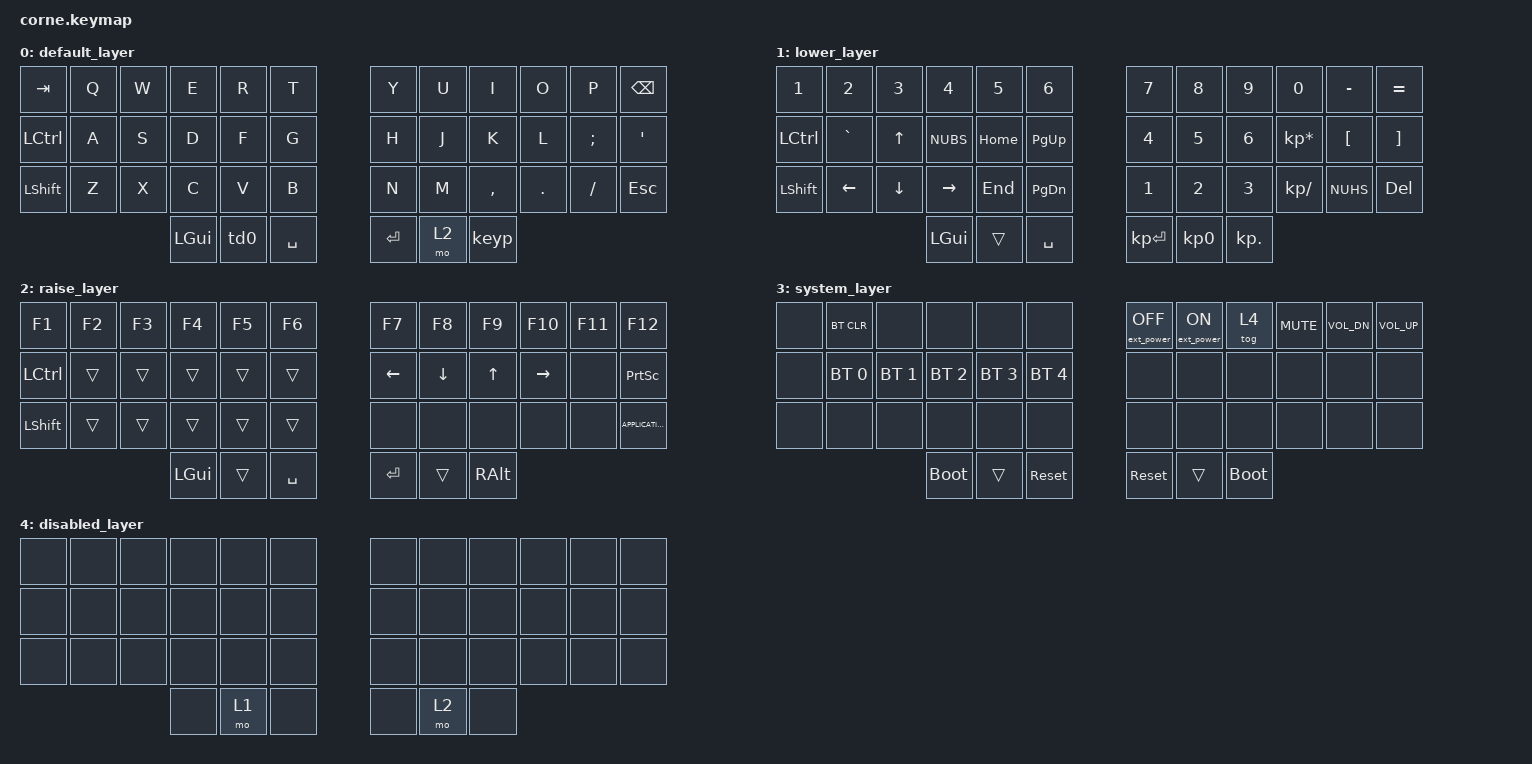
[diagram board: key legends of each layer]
/*
 * Copyright (c) 2020 The ZMK Contributors
 *
 * SPDX-License-Identifier: MIT
 */

#include <behaviors.dtsi>
#include <dt-bindings/zmk/keys.h>
#include <dt-bindings/zmk/bt.h>
#include <dt-bindings/zmk/ext_power.h>
#include <dt-bindings/zmk/outputs.h>


/ {
        behaviors {
            td0: tap_dance_0 {
                compatible = "zmk,behavior-tap-dance";
                #binding-cells = <0>;
                tapping-term-ms = <200>;
                bindings = <&mo 1>, <&to 1>;
            };

            // this is a hack to allow us to use win+alt as launcher for keypirinha_launcher
            // This assume keypirihna is bound to Win+Del
            keyp: keyperinha_launcher {
              compatible = "zmk,behavior-mod-morph";
              #binding-cells = <0>;
              bindings = <&kp LALT>, <&kp F11>;
              mods = <(MOD_LGUI|MOD_RGUI)>;
              keep-mods = <(MOD_LGUI)>;
          };
        };

        conditional_layers {
          compatible = "zmk,conditional-layers";

          tri_layer {
            if-layers = <1 2>;
            then-layer = <3>;
          };
        };

        keymap {
                compatible = "zmk,keymap";

                default_layer {
// -----------------------------------------------------------------------------------------
// |  TAB |  Q  |  W  |  E  |  R  |  T  |   |  Y  |  U   |  I  |  O  |  P  | BKSP |
// | CTRL |  A  |  S  |  D  |  F  |  G  |   |  H  |  J   |  K  |  L  |  ;  |  '   |
// | SHFT |  Z  |  X  |  C  |  V  |  B  |   |  N  |  M   |  ,  |  .  |  /  | ESC  |
//                    | GUI | LWR | SPC |   | ENT | RSE  | ALT |
                        bindings = <
   &kp TAB   &kp Q &kp W &kp E &kp R &kp T   &kp Y &kp U  &kp I     &kp O   &kp P    &kp BSPC
   &kp LCTRL &kp A &kp S &kp D &kp F &kp G   &kp H &kp J  &kp K     &kp L   &kp SEMI &kp SQT
   &kp LSHFT &kp Z &kp X &kp C &kp V &kp B   &kp N &kp M  &kp COMMA &kp DOT &kp FSLH &kp ESC
                  &kp LGUI &td0 &kp SPACE   &kp RET &mo 2 &keyp
                        >;
                };
                lower_layer {
// -----------------------------------------------------------------------------------------
// |   1  |  2  |  3  |  4  |  5  |  6  |   |  7  |  8  |  9  |  0  |  -  |  +   |
// | CTRL | `¬¦ |  UP | | \ |HOME |PGUP |   |  4  |  5  |  6  |  *  | [{  |  }]  |
// | SHFT |LEFT |DOWN |RIGHT|END  |PGDN |   |  1  |  2  |  3  |  /  | ~#  | DEL  |
//                    | GUI |     | SPC |   | ENT |  0  |  .  |
                        bindings = <
   &kp N1     &kp N2    &kp N3   &kp N4    &kp N5   &kp N6         &kp N7   &kp N8   &kp N9  &kp N0          &kp MINUS   &kp EQUAL
   &kp LCTRL  &kp GRAVE &kp UP   &kp NUBS  &kp HOME &kp PG_UP      &kp N4   &kp N5   &kp N6  &kp KP_MULTIPLY &kp LBKT    &kp RBKT
   &kp LSHFT  &kp LEFT  &kp DOWN &kp RIGHT &kp END  &kp PG_DN      &kp N1   &kp N2   &kp N3  &kp KP_DIVIDE   &kp NUHS    &kp DEL
                                 &kp LGUI  &trans   &kp SPACE      &kp KP_ENTER  &kp KP_N0   &kp KP_DOT
                        >;
                };


                raise_layer {
// -----------------------------------------------------------------------------------------
// |   F1 |  F2 |  F3 |  F4 |  F5 |  F6 |   |  F7 |  F8 |  F9 | F10 | F11 | F12  |
// | CTRL |     |     |     |     |     |   | LEFT| DOWN|  UP |RIGHT|     | Print screen |
// | SHFT |     |     |     |     |     |   |     |     |     |     |     | Context menu |
//                    |     |     |     |   |     |     |     |
                        bindings = <
   &kp F1   &kp F2   &kp F3   &kp F4   &kp F5   &kp F6     &kp F7   &kp F8   &kp F9   &kp F10    &kp F11  &kp F12
   &kp LCTRL &trans   &trans &trans   &trans   &trans      &kp LEFT &kp DOWN &kp UP   &kp RIGHT  &none    &kp PRINTSCREEN
   &kp LSHFT &trans   &trans &trans   &trans   &trans      &none    &none    &none    &none      &none    &kp K_APPLICATION
                    	     &kp LGUI &trans   &kp SPACE   &kp RET &trans    &kp RALT
                        >;
                };
                system_layer {
// -----------------------------------------------------------------------------------------
// |      |BTCLR|     |     |     |     |   | PWR | L 4 |     |VOLDN|VOLUP| MUTE |
// |      | BT1 | BT2 | BT3 | BT4 | BT5 |   |     |     |     |     |     |      |
// |      |     |     |     |     |     |   |     |     |     |     |     |      |
//                    |     |     |     |   |     |     |     |
                        bindings = <
   &none    &bt BT_CLR      &none           &none           &none           &none               &ext_power EP_OFF   &ext_power EP_ON      &tog 4           &kp C_MUTE      &kp C_VOL_DN    &kp C_VOL_UP
   &none    &bt BT_SEL 0    &bt BT_SEL 1    &bt BT_SEL 2    &bt BT_SEL 3    &bt BT_SEL 4        &none               &none       &none           &none           &none           &none
   &none    &none           &none           &none           &none           &none               &none               &none       &none           &none           &none           &none
                                            &bootloader          &trans          &sys_reset              &sys_reset              &trans      &bootloader
                        >;
                };
                disabled_layer {
// -----------------------------------------------------------------------------------------
// |      |     |     |     |     |     |   |     |     |     |     |     |      |
// |      |     |     |     |     |     |   |     |     |     |     |     |      |
// |      |     |     |     |     |     |   |     |     |     |     |     |      |
//                    |     |     |     |   |     |     |     |
                        bindings = <
   &none    &none   &none   &none   &none   &none       &none    &none   &none   &none   &none   &none
   &none    &none   &none   &none   &none   &none       &none    &none   &none   &none   &none   &none
   &none    &none   &none   &none   &none   &none       &none    &none   &none   &none   &none   &none
                            &none  &mo 1  &none       &none    &mo 2  &none
                        >;
                };
        };
};
